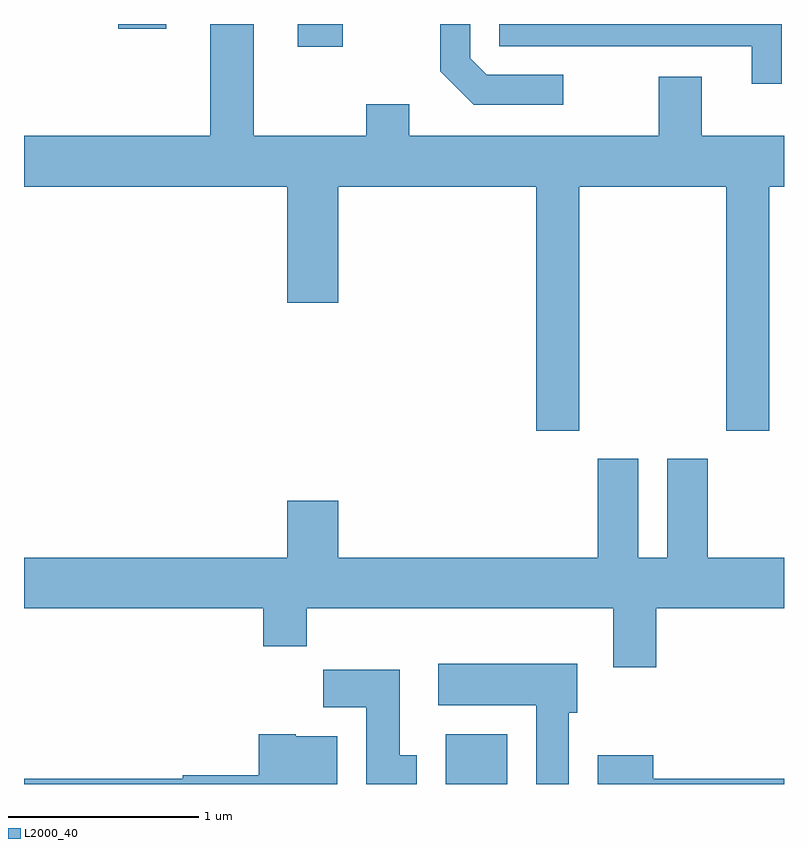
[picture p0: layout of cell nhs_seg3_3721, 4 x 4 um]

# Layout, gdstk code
import gdstk
lib = gdstk.Library(unit=1e-6, precision=1e-09)
def R(c, l, rs):  # rectangles x0, y0, x1, y1
    for r in rs: c.add(gdstk.rectangle(r[:2], r[2:], *l))
def P(c, l, *ps):  # polygons
    for p in ps: c.add(gdstk.Polygon(p, *l))
L2000_40 = (2000, 40)

nhs_seg3_3721 = lib.new_cell('nhs_seg3_3721')
R(nhs_seg3_3721, L2000_40, [(295.831,1213.892,296.154,1214.154), (295.051,1217.771,295.288,1217.892), (294.106,1217.866,294.359,1217.892)])
P(nhs_seg3_3721, L2000_40, [(296.448,1217.624),(296.047,1217.624),(295.959,1217.712),(295.959,1217.892),(295.801,1217.892),(295.801,1217.644),(295.979,1217.466),(296.448,1217.466)],
  [(294.591,1217.892),(294.591,1217.304),(293.611,1217.304),(293.611,1217.036),(294.996,1217.036),(294.996,1216.426),(295.264,1216.426),(295.264,1217.036),(296.306,1217.036),(296.306,1215.751),(296.534,1215.751),(296.534,1217.036),(297.306,1217.036),(297.306,1215.751),(297.534,1215.751),(297.534,1217.036),(297.611,1217.036),(297.611,1217.304),(297.179,1217.304),(297.179,1217.614),(296.951,1217.614),(296.951,1217.304),(295.639,1217.304),(295.639,1217.469),(295.411,1217.469),(295.411,1217.304),(294.819,1217.304),(294.819,1217.892)],
  [(297.599,1217.892),(296.111,1217.892),(296.111,1217.776),(297.441,1217.776),(297.441,1217.578),(297.599,1217.578)],
  [(296.939,1214.816),(297.611,1214.816),(297.611,1215.084),(297.209,1215.084),(297.209,1215.604),(296.996,1215.604),(296.996,1215.084),(296.844,1215.084),(296.844,1215.604),(296.631,1215.604),(296.631,1215.084),(295.264,1215.084),(295.264,1215.384),(294.996,1215.384),(294.996,1215.084),(293.611,1215.084),(293.611,1214.816),(294.871,1214.816),(294.871,1214.616),(295.099,1214.616),(295.099,1214.816),(296.711,1214.816),(296.711,1214.506),(296.939,1214.506)],
  [(296.479,1214.266),(296.524,1214.266),(296.524,1214.524),(295.791,1214.524),(295.791,1214.306),(296.306,1214.306),(296.306,1213.892),(296.479,1213.892)],
  [(295.679,1214.044),(295.589,1214.044),(295.589,1214.494),(295.186,1214.494),(295.186,1214.296),(295.411,1214.296),(295.411,1213.892),(295.679,1213.892)],
  [(295.259,1214.144),(295.04,1214.144),(295.04,1214.154),(294.846,1214.154),(294.846,1213.939),(294.446,1213.939),(294.446,1213.919),(293.611,1213.919),(293.611,1213.892),(295.259,1213.892)],
  [(297.611,1213.919),(296.924,1213.919),(296.924,1214.044),(296.631,1214.044),(296.631,1213.892),(297.611,1213.892)])

lib.write_gds('nhs_seg3_3721.gds')
